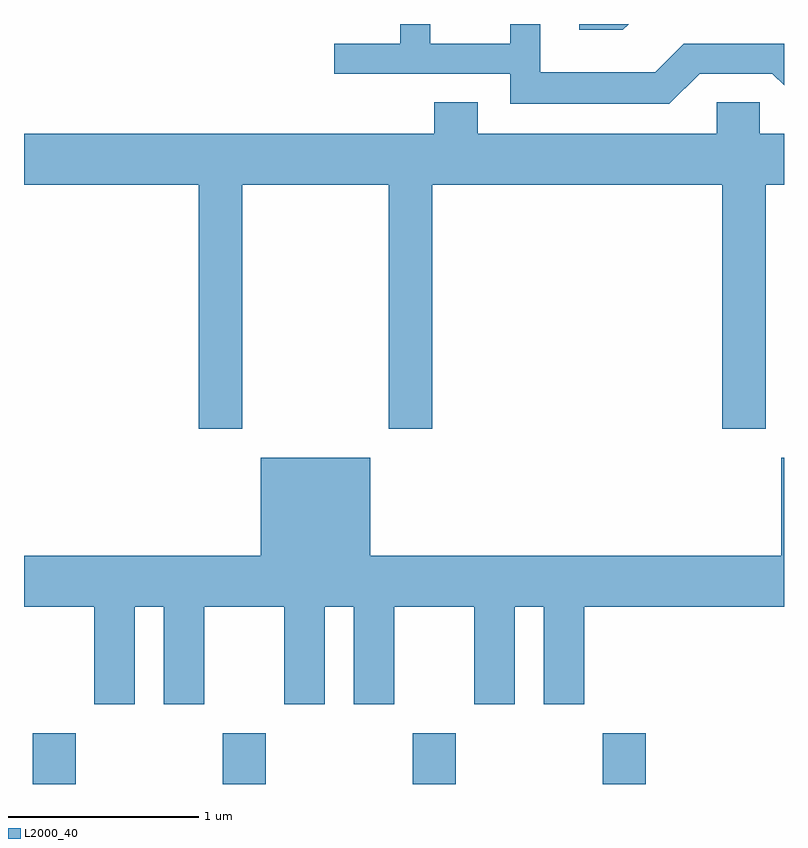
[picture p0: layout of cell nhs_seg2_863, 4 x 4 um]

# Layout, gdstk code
import gdstk
lib = gdstk.Library(unit=1e-6, precision=1e-09)
def R(c, l, rs):  # rectangles x0, y0, x1, y1
    for r in rs: c.add(gdstk.rectangle(r[:2], r[2:], *l))
def A(c, l, x, y, w, h, nx, ny, dx, dy):  # array of equal rectangles
    R(c, l, [(x+i*dx, y+j*dy, x+i*dx+w, y+j*dy+h) for i in range(nx) for j in range(ny)])
def P(c, l, *ps):  # polygons
    for p in ps: c.add(gdstk.Polygon(p, *l))
L2000_40 = (2000, 40)

nhs_seg2_863 = lib.new_cell('nhs_seg2_863')
A(nhs_seg2_863, L2000_40, 209.656, 1071.802, 0.228, 0.267, 4, 1, 1, 0)
P(nhs_seg2_863, L2000_40, [(212.793,1075.802),(212.533,1075.802),(212.533,1075.771),(212.762,1075.771)],
  [(213.167,1075.541),(213.549,1075.541),(213.611,1075.479),(213.611,1075.699),(213.084,1075.699),(212.934,1075.549),(212.329,1075.549),(212.329,1075.802),(212.171,1075.802),(212.171,1075.699),(211.749,1075.699),(211.749,1075.802),(211.591,1075.802),(211.591,1075.699),(211.243,1075.699),(211.243,1075.541),(212.171,1075.541),(212.171,1075.381),(213.007,1075.381)],
  [(210.759,1074.956),(211.531,1074.956),(211.531,1073.671),(211.759,1073.671),(211.759,1074.956),(213.286,1074.956),(213.286,1073.671),(213.514,1073.671),(213.514,1074.956),(213.611,1074.956),(213.611,1075.224),(213.484,1075.224),(213.484,1075.389),(213.256,1075.389),(213.256,1075.224),(211.999,1075.224),(211.999,1075.389),(211.771,1075.389),(211.771,1075.224),(209.611,1075.224),(209.611,1074.956),(210.531,1074.956),(210.531,1073.671),(210.759,1073.671)],
  [(210.194,1072.736),(210.346,1072.736),(210.346,1072.221),(210.559,1072.221),(210.559,1072.736),(210.981,1072.736),(210.981,1072.221),(211.194,1072.221),(211.194,1072.736),(211.346,1072.736),(211.346,1072.221),(211.559,1072.221),(211.559,1072.736),(211.981,1072.736),(211.981,1072.221),(212.194,1072.221),(212.194,1072.736),(212.346,1072.736),(212.346,1072.221),(212.559,1072.221),(212.559,1072.736),(213.611,1072.736),(213.611,1073.519),(213.596,1073.519),(213.596,1073.004),(211.434,1073.004),(211.434,1073.519),(210.856,1073.519),(210.856,1073.004),(209.611,1073.004),(209.611,1072.736),(209.981,1072.736),(209.981,1072.221),(210.194,1072.221)])

lib.write_gds('nhs_seg2_863.gds')
